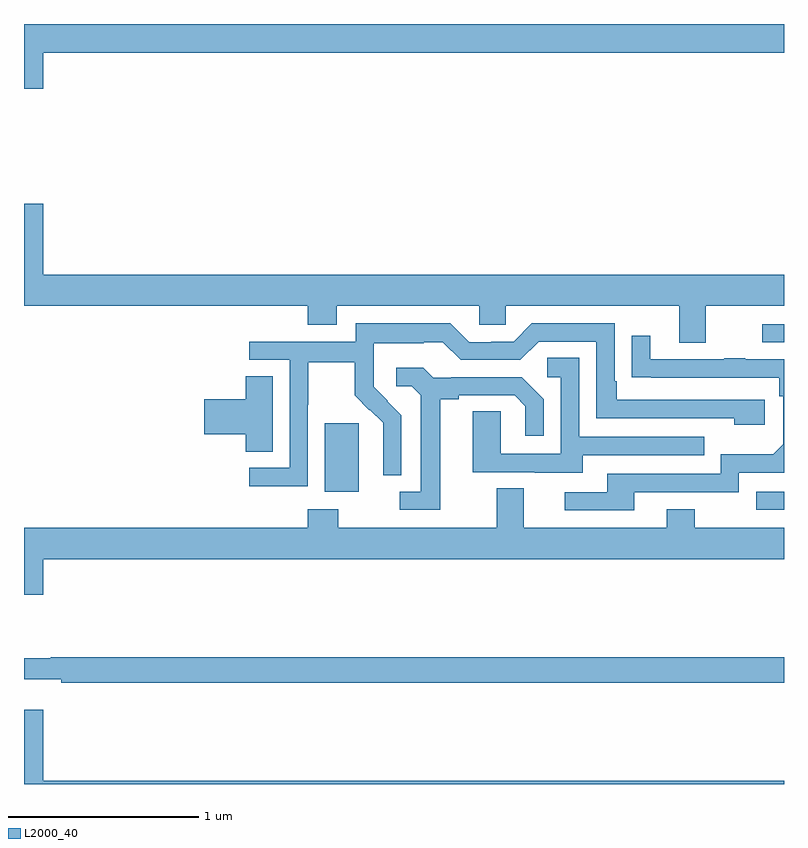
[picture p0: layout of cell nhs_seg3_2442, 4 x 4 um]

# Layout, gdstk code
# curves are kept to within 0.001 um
import gdstk
lib = gdstk.Library(unit=1e-6, precision=1e-09)
def R(c, l, rs):  # rectangles x0, y0, x1, y1
    for r in rs: c.add(gdstk.rectangle(r[:2], r[2:], *l))
def P(c, l, *ps):  # polygons
    for p in ps: c.add(gdstk.Polygon(p, *l))
L2000_40 = (2000, 40)

nhs_seg3_2442 = lib.new_cell('nhs_seg3_2442')
R(nhs_seg3_2442, L2000_40, [(240.855,699.843,241,699.939), (238.583,699.938,238.762,700.299), (240.885,700.725,241,700.821)])
P(nhs_seg3_2442, L2000_40, [(237.1,702.248),(241,702.248),(241,702.4),(237,702.4),(237,702.06),(237.1,702.06)],
  [(240.589,700.916),(241,700.916),(241,701.08),(237.1,701.08),(237.1,701.455),(237,701.455),(237,700.916),(238.493,700.916),(238.493,700.817),(238.645,700.817),(238.645,700.916),(239.397,700.916),(239.397,700.818),(239.535,700.818),(239.535,700.916),(240.449,700.916),(240.449,700.722),(240.589,700.722)],
  [(238.494,700.396),(238.497,700.396),(238.497,700.62),(238.741,700.62),(238.741,700.445),(238.818,700.368),(238.821,700.371),(238.892,700.301),(238.892,700.178),(238.89,700.178),(238.89,700.024),(238.986,700.024),(238.986,700.342),(238.84,700.49),(238.84,700.587),(238.842,700.587),(238.842,700.721),(239.105,700.721),(239.105,700.725),(239.205,700.725),(239.298,700.632),(239.613,700.632),(239.709,700.728),(240.012,700.728),(240.012,700.326),(240.737,700.326),(240.737,700.292),(240.898,700.292),(240.898,700.422),(240.121,700.422),(240.121,700.519),(240.108,700.519),(240.108,700.824),(239.673,700.824),(239.577,700.728),(239.459,700.728),(239.459,700.725),(239.343,700.725),(239.243,700.825),(238.746,700.825),(238.746,700.728),(238.185,700.728),(238.185,700.632),(238.398,700.632),(238.398,700.065),(238.185,700.065),(238.185,699.967),(238.494,699.967)],
  [(240.211,699.936),(240.762,699.936),(240.762,700.038),(241,700.038),(241,700.635),(240.797,700.635),(240.797,700.64),(240.685,700.64),(240.685,700.635),(240.295,700.635),(240.295,700.759),(240.199,700.759),(240.199,700.54),(240.976,700.539),(240.976,700.442),(240.996,700.442),(240.996,700.188),(240.943,700.135),(240.666,700.135),(240.666,700.032),(240.071,700.032),(240.071,699.936),(239.847,699.936),(239.847,699.84),(240.211,699.84)],
  [(239.941,700.131),(240.581,700.131),(240.581,700.227),(239.922,700.227),(239.922,700.643),(239.754,700.643),(239.754,700.542),(239.826,700.542),(239.826,700.137),(239.508,700.137),(239.508,700.361),(239.363,700.361),(239.363,700.041),(239.687,700.041),(239.687,700.037),(239.941,700.037)],
  [(239.191,700.424),(239.287,700.424),(239.287,700.446),(239.582,700.446),(239.639,700.389),(239.639,700.233),(239.736,700.233),(239.736,700.426),(239.62,700.542),(239.248,700.542),(239.248,700.539),(239.154,700.539),(239.102,700.591),(238.959,700.591),(238.959,700.494),(239.04,700.494),(239.087,700.447),(239.087,699.939),(238.977,699.939),(238.977,699.843),(239.191,699.843)],
  [(238.309,700.547),(238.166,700.547),(238.166,700.424),(237.948,700.424),(237.948,700.241),(238.166,700.241),(238.166,700.15),(238.309,700.15)],
  [(237.1,699.584),(241,699.584),(241,699.748),(240.531,699.748),(240.531,699.847),(240.383,699.847),(240.383,699.748),(239.629,699.748),(239.629,699.956),(239.489,699.956),(239.489,699.748),(238.653,699.748),(238.653,699.847),(238.493,699.847),(238.493,699.748),(237,699.748),(237,699.396),(237.1,699.396)],
  [(241,699.068),(237.14,699.068),(237.14,699.061),(237,699.061),(237,698.951),(237.196,698.951),(237.196,698.932),(241,698.932)],
  [(241,698.416),(237.1,698.416),(237.1,698.791),(237,698.791),(237,698.4),(241,698.4)])

lib.write_gds('nhs_seg3_2442.gds')
